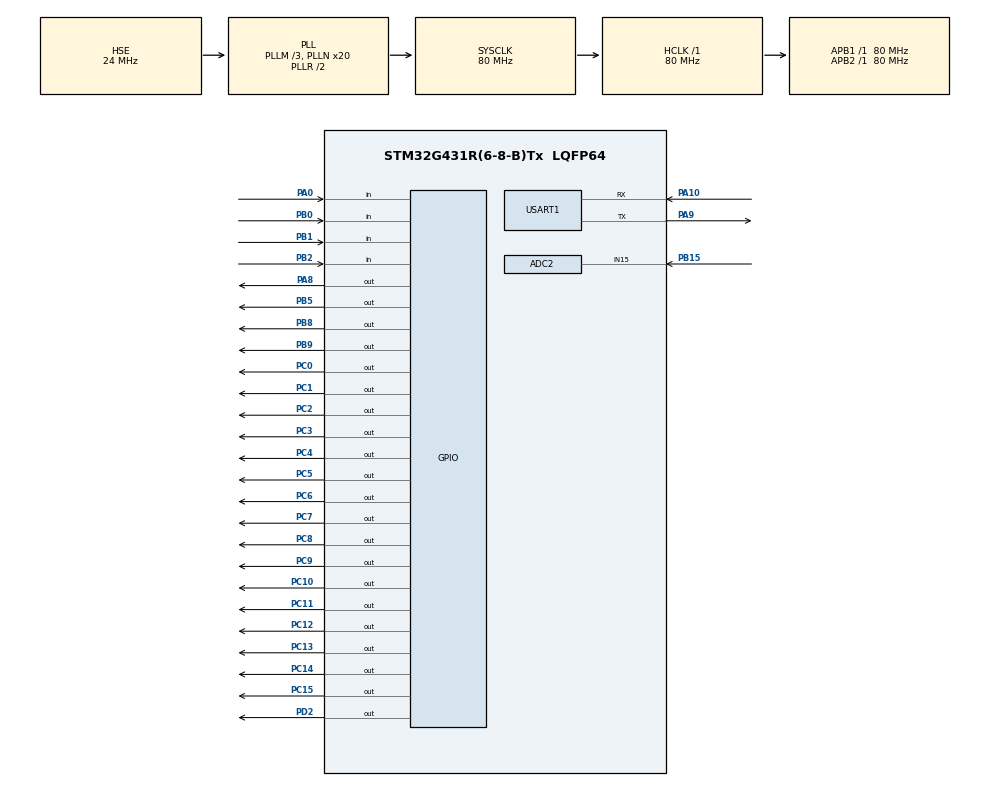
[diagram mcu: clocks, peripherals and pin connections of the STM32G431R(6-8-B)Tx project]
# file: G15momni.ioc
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ADC2.Channel-0\#ChannelRegularConversion=ADC_CHANNEL_15
ADC2.NbrOfConversionFlag=1
ADC2.OffsetNumber-0\#ChannelRegularConversion=ADC_OFFSET_NONE
ADC2.Rank-0\#ChannelRegularConversion=1
ADC2.SamplingTime-0\#ChannelRegularConversion=ADC_SAMPLETIME_2CYCLES_5
Mcu.Family=STM32G4
Mcu.Name=STM32G431R(6-8-B)Tx
Mcu.Package=LQFP64
NVIC.PriorityGroup=NVIC_PRIORITYGROUP_4
NVIC.USART1_IRQn=true\:0\:0\:false\:false\:true\:true\:true\:true
PA0.GPIO_PuPd=GPIO_PULLUP
PA0.Signal=GPIO_Input
PA10.Mode=Asynchronous
PA10.Signal=USART1_RX
PA13.Mode=Serial_Wire
PA13.Signal=SYS_JTMS-SWDIO
PA14.Mode=Serial_Wire
PA14.Signal=SYS_JTCK-SWCLK
PA8.Signal=GPIO_Output
PA9.Mode=Asynchronous
PA9.Signal=USART1_TX
PB0.GPIO_PuPd=GPIO_PULLUP
PB0.Signal=GPIO_Input
PB1.GPIO_PuPd=GPIO_PULLUP
PB1.Signal=GPIO_Input
PB15.Mode=IN15-Single-Ended
PB15.Signal=ADC2_IN15
PB2.GPIO_PuPd=GPIO_PULLUP
PB2.Signal=GPIO_Input
PB5.Signal=GPIO_Output
PB8-BOOT0.Signal=GPIO_Output
PB9.Signal=GPIO_Output
PC0.Signal=GPIO_Output
PC1.Signal=GPIO_Output
PC10.Signal=GPIO_Output
PC11.Signal=GPIO_Output
PC12.Signal=GPIO_Output
PC13.Signal=GPIO_Output
PC14-OSC32_IN.Signal=GPIO_Output
PC15-OSC32_OUT.Signal=GPIO_Output
PC2.Signal=GPIO_Output
PC3.Signal=GPIO_Output
PC4.Signal=GPIO_Output
PC5.Signal=GPIO_Output
PC6.Signal=GPIO_Output
PC7.Signal=GPIO_Output
PC8.Signal=GPIO_Output
PC9.Signal=GPIO_Output
PD2.Signal=GPIO_Output
PF0-OSC_IN.Mode=HSE-External-Oscillator
PF0-OSC_IN.Signal=RCC_OSC_IN
PF1-OSC_OUT.Mode=HSE-External-Oscillator
PF1-OSC_OUT.Signal=RCC_OSC_OUT
ProjectManager.HeapSize=0x200
ProjectManager.StackSize=0x400
ProjectManager.TargetToolchain=MDK-ARM V5.32
RCC.ADC12Freq_Value=80000000
RCC.AHBFreq_Value=80000000
RCC.APB1Freq_Value=80000000
RCC.APB1TimFreq_Value=80000000
RCC.APB2Freq_Value=80000000
RCC.APB2TimFreq_Value=80000000
RCC.CortexFreq_Value=80000000
RCC.EXTERNAL_CLOCK_VALUE=12288000
RCC.HCLKFreq_Value=80000000
RCC.HSE_VALUE=24000000
RCC.HSI48_VALUE=48000000
RCC.HSI_VALUE=16000000
RCC.LSE_VALUE=32768
RCC.PLLM=RCC_PLLM_DIV3
RCC.PLLN=20
RCC.PLLSourceVirtual=RCC_PLLSOURCE_HSE
RCC.SYSCLKFreq_VALUE=80000000
RCC.SYSCLKSource=RCC_SYSCLKSOURCE_PLLCLK
RCC.USBFreq_Value=80000000
RCC.VCOOutputFreq_Value=160000000
USART1.VirtualMode-Asynchronous=VM_ASYNC
VP_SYS_VS_DBSignals.Mode=DisableDeadBatterySignals
board=custom

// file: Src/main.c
/* USER CODE BEGIN Header */
/**
  ******************************************************************************
  * @file           : main.c
  * @brief          : Main program body
  ******************************************************************************
  * @attention
  *
  * Copyright (c) 2025 STMicroelectronics.
  * All rights reserved.
  *
  * This software is licensed under terms that can be found in the LICENSE file
  * in the root directory of this software component.
  * If no LICENSE file comes with this software, it is provided AS-IS.
  *
  ******************************************************************************
  */
/* USER CODE END Header */
#include "main.h"
#include "adc.h"
#include "usart.h"
#include "gpio.h"

/* USER CODE BEGIN Includes */
#include "lcd.h"
#include "stdio.h"
#include "string.h"
/* USER CODE END Includes */

/* USER CODE BEGIN PTD */
uint8_t state;   //系统状态
char buf[40];      //数据缓存区
uint16_t adc=0;      //adc采集到的值
char adc_buf[80];  //adc数组缓冲区
float instance;    //距离
char RX_buf[20];    //串口数据缓冲区
uint8_t stand;      //串口数据数量参数
uint8_t uart;        //串口数据接收完成标志位
/* USER CODE END PTD */

/* USER CODE BEGIN PD */
//重定义函数
int fputc(int ch,FILE *f)
{
    HAL_UART_Transmit(&huart1,(uint8_t *)&ch,1,50);
	return ch;
}
//底层led控制
void led_display(uint8_t led)
{
   HAL_GPIO_WritePin(GPIOD,GPIO_PIN_2,1);
	 HAL_GPIO_WritePin(GPIOC,GPIO_PIN_8|GPIO_PIN_9|GPIO_PIN_10|GPIO_PIN_11|GPIO_PIN_12
	|GPIO_PIN_13|GPIO_PIN_14|GPIO_PIN_15,1);
	HAL_GPIO_WritePin(GPIOC,led<<8,0);
	HAL_GPIO_WritePin(GPIOD,GPIO_PIN_2,0);
}
//按键扫描
uint8_t key_scan()
{
   static uint8_t key=1;
	if(key==1&&(HAL_GPIO_ReadPin(GPIOB,GPIO_PIN_0)==0||HAL_GPIO_ReadPin(GPIOB,GPIO_PIN_1)==0||HAL_GPIO_ReadPin(GPIOB,GPIO_PIN_2)==0||HAL_GPIO_ReadPin(GPIOA,GPIO_PIN_0)==0))
	{
		key=0;
		HAL_Delay(10);
	    if(HAL_GPIO_ReadPin(GPIOB,GPIO_PIN_0)==0)
			{
			  return 1;
			}
			if(HAL_GPIO_ReadPin(GPIOB,GPIO_PIN_1)==0)
			{
			  return 2;
			}
			if(HAL_GPIO_ReadPin(GPIOB,GPIO_PIN_2)==0)
			{
			  return 3;
			}
			if(HAL_GPIO_ReadPin(GPIOA,GPIO_PIN_0)==0)
			{
			  return 4;
			}
	}
 if(key==0&&HAL_GPIO_ReadPin(GPIOB,GPIO_PIN_0)==1&&HAL_GPIO_ReadPin(GPIOB,GPIO_PIN_1)==1&&HAL_GPIO_ReadPin(GPIOB,GPIO_PIN_2)==1&&HAL_GPIO_ReadPin(GPIOA,GPIO_PIN_0)==1)
 {
   key=1;
 }
return 0;
}
//按键处理函数
void key_pro(uint8_t KEY)
{
    switch(KEY)
		{
		  case 1:
				state++;
			  if(state>1)
				{
				state=0;
				}
				break;
			case 2:

				break;
			case 3:
		HAL_UART_Transmit(&huart1,(uint8_t *)RX_buf,1,10);

				break;
			case 4:

				break;
			default:
				break;
		}
}
//lcd显示函数
void lcd_show()
{
   switch(state)
	 {
	   case 0:
			 LCD_DisplayStringLine(Line2,(uint8_t *)"       D A T A       ");
		   sprintf(buf,"       N:S       ");
		   LCD_DisplayStringLine(Line4,(uint8_t *)buf);
		   sprintf(buf,"       D:%.1f       ",instance*1.0);
		   LCD_DisplayStringLine(Line6,(uint8_t *)buf);
			 break;
		 case 1:
			 LCD_DisplayStringLine(Line2,(uint8_t *)"       W A R N        ");

		   LCD_DisplayStringLine(Line4,(uint8_t *)"                        ");

		   LCD_DisplayStringLine(Line6,(uint8_t *)"                       ");
			 break;
		 default:
			 break;
	 }
}
//ADC处理函数
void ADC_pro()
{
   HAL_ADC_Start(&hadc2);
	 adc=HAL_ADC_GetValue(&hadc2);
	 sprintf(adc_buf,"  adc_value:  %.3f   ",(adc*3.3)/4096);
   LCD_DisplayStringLine(Line8,(uint8_t *)adc_buf);
}
void data_pro()
{
	   if((adc*3.3)/4096<3.0)
		 {
     instance=100.0*((adc*3.3)/4096);
		 }
		 else
		 {
		 instance=300;
		 }
}
void UART_pro()
{
    if(uart==1)
		{
			uart=0;
		 if(RX_buf[0]=='L')
		 {
		   printf("Success\r\n");
		 }
		 else
		 {
		 printf("Warn\r\n");
		 }
		 if(RX_buf[0]=='R')
		 {
		   printf("Success\r\n");
		 }
		 else
		 {
		 printf("Warn\r\n");
		 }
		 if(RX_buf[0]!='R'||RX_buf[0]!='L')
		 {
		 printf("ERROR\r\n");
		 }
		}
}
/* USER CODE END PD */

void SystemClock_Config(void);

int main(void)
{

  /* MCU Configuration--------------------------------------------------------*/

  /* Reset of all peripherals, Initializes the Flash interface and the Systick. */
  HAL_Init();

  /* Configure the system clock */
  SystemClock_Config();

  /* Initialize all configured peripherals */
  MX_GPIO_Init();
  MX_USART1_UART_Init();
  MX_ADC2_Init();
  /* USER CODE BEGIN 2 */
	LCD_Init();
	LCD_Clear(White);
	LCD_SetBackColor(White);
	LCD_SetTextColor(Magenta);
	__HAL_UART_ENABLE_IT(&huart1,UART_IT_RXNE);
  /* USER CODE END 2 */

  /* Infinite loop */
  /* USER CODE BEGIN WHILE */
  while (1)
  {
		uint8_t Key;
		Key=key_scan();
		key_pro(Key);
		lcd_show();
		ADC_pro();
		data_pro();
		UART_pro();
//		printf("1111");

    /* USER CODE END WHILE */

  }
}

void SystemClock_Config(void)
{
  RCC_OscInitTypeDef RCC_OscInitStruct = {0};
  RCC_ClkInitTypeDef RCC_ClkInitStruct = {0};

  /** Configure the main internal regulator output voltage
  */
  HAL_PWREx_ControlVoltageScaling(PWR_REGULATOR_VOLTAGE_SCALE1);

  /** Initializes the RCC Oscillators according to the specified parameters
  * in the RCC_OscInitTypeDef structure.
  */
  RCC_OscInitStruct.OscillatorType = RCC_OSCILLATORTYPE_HSE;
  RCC_OscInitStruct.HSEState = RCC_HSE_ON;
  RCC_OscInitStruct.PLL.PLLState = RCC_PLL_ON;
  RCC_OscInitStruct.PLL.PLLSource = RCC_PLLSOURCE_HSE;
  RCC_OscInitStruct.PLL.PLLM = RCC_PLLM_DIV3;
  RCC_OscInitStruct.PLL.PLLN = 20;
  RCC_OscInitStruct.PLL.PLLP = RCC_PLLP_DIV2;
  RCC_OscInitStruct.PLL.PLLQ = RCC_PLLQ_DIV2;
  RCC_OscInitStruct.PLL.PLLR = RCC_PLLR_DIV2;
  if (HAL_RCC_OscConfig(&RCC_OscInitStruct) != HAL_OK)
  {
    Error_Handler();
  }

  /** Initializes the CPU, AHB and APB buses clocks
  */
  RCC_ClkInitStruct.ClockType = RCC_CLOCKTYPE_HCLK|RCC_CLOCKTYPE_SYSCLK
                              |RCC_CLOCKTYPE_PCLK1|RCC_CLOCKTYPE_PCLK2;
  RCC_ClkInitStruct.SYSCLKSource = RCC_SYSCLKSOURCE_PLLCLK;
  RCC_ClkInitStruct.AHBCLKDivider = RCC_SYSCLK_DIV1;
  RCC_ClkInitStruct.APB1CLKDivider = RCC_HCLK_DIV1;
  RCC_ClkInitStruct.APB2CLKDivider = RCC_HCLK_DIV1;

  if (HAL_RCC_ClockConfig(&RCC_ClkInitStruct, FLASH_LATENCY_2) != HAL_OK)
  {
    Error_Handler();
  }
}
/* USER CODE BEGIN 4 */
void HAL_UART_RxCpltCallback(UART_HandleTypeDef *huart)
{
     if(huart->Instance==USART1)
		 {
		   RX_buf[stand]=(uint8_t)(huart1.Instance->RDR&(uint8_t)0x00ff);
			 stand++;
			 __HAL_UART_CLEAR_FLAG(&huart1,UART_FLAG_RXNE);
		    if(stand==1)
				{
				  stand=0;
					uart=1;
				}
		 }
}
/* USER CODE END 4 */

void Error_Handler(void)
{
  __disable_irq();
  while (1)
  {
  }
}
